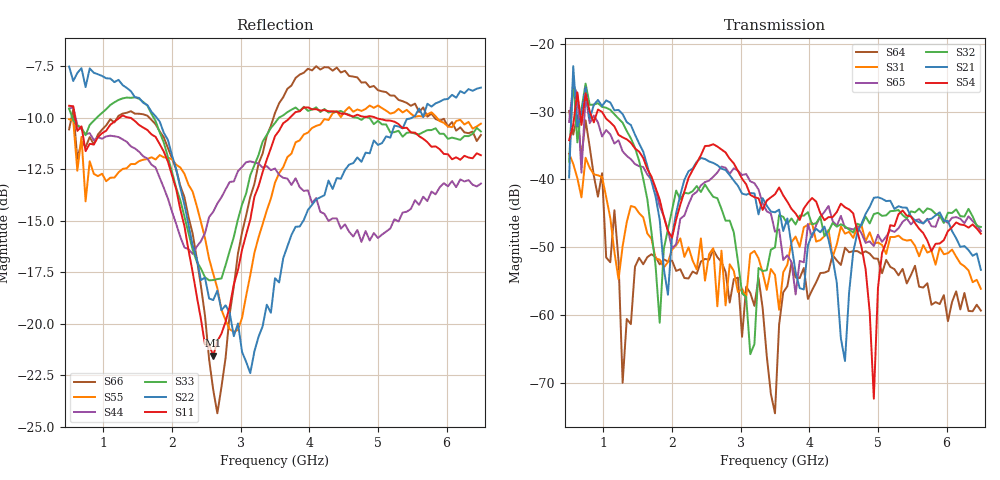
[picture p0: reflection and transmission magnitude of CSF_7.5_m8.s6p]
!Keysight Technologies,M9804A,MY58100912,A.14.10.03
!Date: Thursday, April 27, 2023 10:28:33
!Correction: S11(C  6-Port  )
!S12(C  6-Port  )
!S13(C  6-Port  )
!S14(C  6-Port  )
!S15(C  6-Port  )
!S16(C  6-Port  )
!S21(C  6-Port  )
!S22(C  6-Port  )
!S23(C  6-Port  )
!S24(C  6-Port  )
!S25(C  6-Port  )
!S26(C  6-Port  )
!S31(C  6-Port  )
!S32(C  6-Port  )
!S33(C  6-Port  )
!S34(C  6-Port  )
!S35(C  6-Port  )
!S36(C  6-Port  )
!S41(C  6-Port  )
!S42(C  6-Port  )
!S43(C  6-Port  )
!S44(C  6-Port  )
!S45(C  6-Port  )
!S46(C  6-Port  )
!S51(C  6-Port  )
!S52(C  6-Port  )
!S53(C  6-Port  )
!S54(C  6-Port  )
!S55(C  6-Port  )
!S56(C  6-Port  )
!S61(C  6-Port  )
!S62(C  6-Port  )
!S63(C  6-Port  )
!S64(C  6-Port  )
!S65(C  6-Port  )
!S66(C  6-Port  )
!S6P File: Measurement: :
# Hz S  RI  R 50
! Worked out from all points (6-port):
!   101 points, 500 MHz to 6.5 GHz, reference 50 ohm
!   strongest paths, dB at 500 MHz, 2 GHz, 3.5 GHz, 5 GHz, 6.5 GHz:
!     S54: -34.2, -48.6, -42.2, -56.1, -48.0
!     S21: -39.7, -48.3, -44.9, -42.6, -53.3
!     S32: -37.4, -44.5, -50.0, -44.9, -47.0
!     S65: -31.5, -50.2, -47.7, -48.2, -47.6
!     S31: -36.2, -50.4, -54.1, -49.3, -56.2
!     S64: -29.9, -52.0, -74.5, -51.7, -59.4
!   lowest |S11| = -21.5 dB at 2.6 GHz (marker M1), VSWR 1.18, Z = 42.5 + j2.07 ohm
!   |S11| at or under -10 dB: 588.3 MHz to 1.233 GHz (644.7 MHz wide, 70.8 % of centre); 1.4 GHz to 3.715 GHz (2.314 GHz wide, 90.5 % of centre); 4.972 GHz to end of sweep
